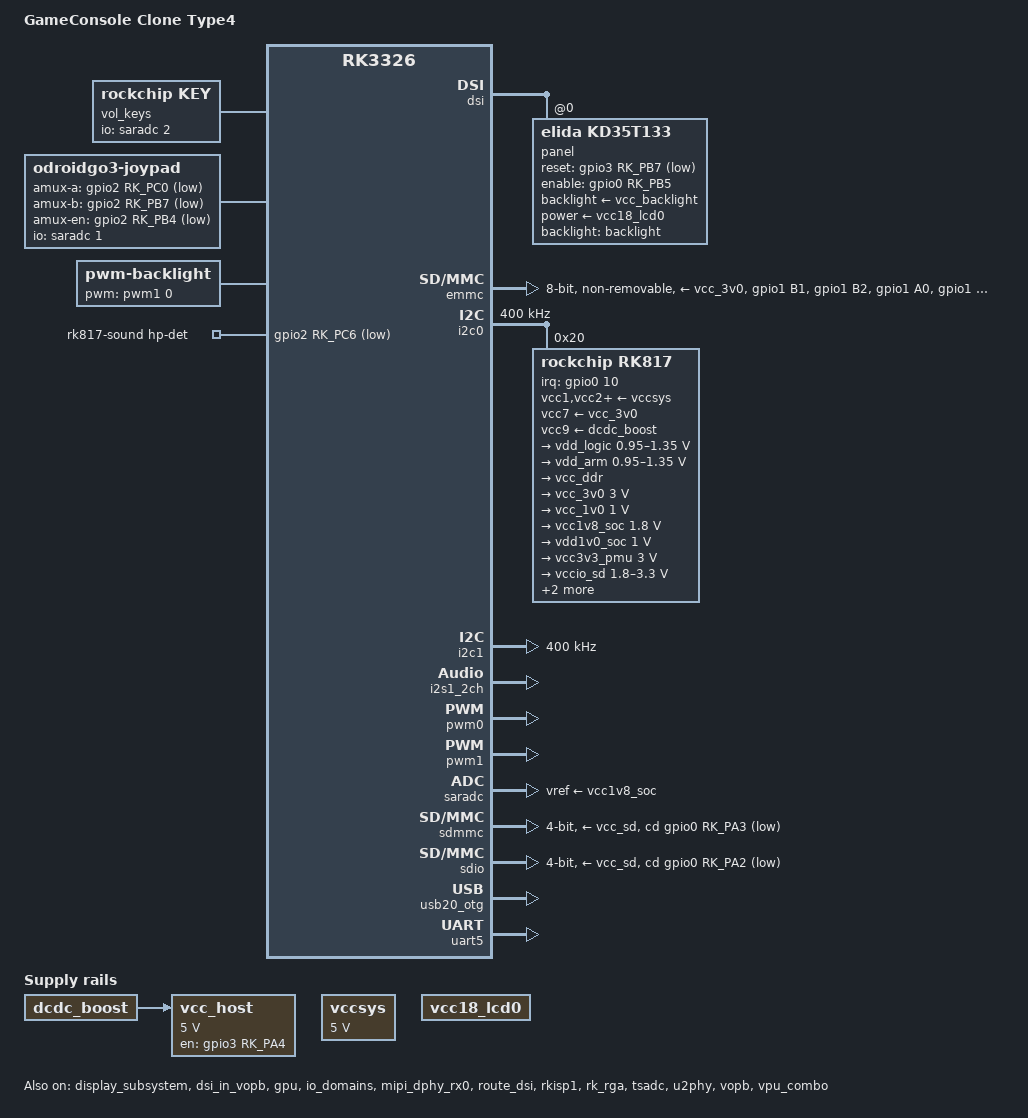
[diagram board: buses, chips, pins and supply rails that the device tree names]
// SPDX-License-Identifier: (GPL-2.0+ OR MIT)
/*
 * Copyright (c) 2025 kk&lcdyk
 *
 * R36S Clone掌机 种类4
 *
 */

/dts-v1/;
#include <dt-bindings/display/drm_mipi_dsi.h>
#include <dt-bindings/gpio/gpio.h>
#include <dt-bindings/input/input.h>
#include <dt-bindings/pinctrl/rockchip.h>
#include <dt-bindings/sensor-dev.h>
#include "rk3326.dtsi"
#include "rk3326-linux.dtsi"

/ {
	model = "GameConsole Clone Type4";
	compatible = "rockchip,rk3326-r36s-type4-linux", "rockchip,rk3326";

	chosen {
                bootargs = "";
	};
	
	aliases {
		serial0 = "/serial@ff178000";
		serial5 = "/serial@ff030000";
		mmc0 = &sdmmc;   /* ff370000：外置 microSD */
		mmc1 = &sdio;   /* ff380000：SDIO Wi-Fi */
		mmc2 = &emmc;   /* ff390000：eMMC */
	};

	vol_keys: rg351-keys {
		compatible = "rockchip,key";
		io-channels = <&saradc 2>;
		autorepeat;
		vol-down-key {
			linux,code = <KEY_VOLUMEDOWN>;
			label = "volume down";
			rockchip,adc_value = <166>;
		};

		vol-up-key {
			linux,code = <KEY_VOLUMEUP>;
			label = "volume up";
			rockchip,adc_value = <9>;
		};
	};

	joypad: odroidgo3-joypad {
		compatible = "odroidgo3-joypad";
		joypad-name = "GO-Super Gamepad";
		joypad-product = <0x1100>;
		joypad-revision = <0x0100>;
		status = "okay";

		/* gpio pincontrol setup */
		pinctrl-names = "default";
		pinctrl-0 = <&btn_pins>;

		/* Analog mux define */
		io-channel-names = "amux_adc";
		io-channels = <&saradc 1>;

		/* adc mux channel count */
		amux-count = <4>;
		amux-channel-mapping = <2 3 1 0>;
		/* adc mux select(a,b) gpio */
		amux-a-gpios = <&gpio2 RK_PC0 GPIO_ACTIVE_LOW>;
		amux-b-gpios = <&gpio2 RK_PB7 GPIO_ACTIVE_LOW>;
		/* adc mux enable gpio */
		amux-en-gpios = <&gpio2 RK_PB4 GPIO_ACTIVE_LOW>;
		/* adc calculate scale */
		button-adc-scale = <2>;
		/* adc deadzone range  */
		button-adc-deadzone = <64>;
		/*
		  specifies fuzz value that is used to filter noise from
		  the event stream.
		*/
		button-adc-fuzz = <32>;
		button-adc-flat = <32>;
		/*
		  Analog Stick data tuning value(precent)
		  p = positive direction, n = negative direction
		  report value = (real_adc_data * tuning_value) / 100
		*/
		abs_x-p-tuning = <200>;
		abs_x-n-tuning = <200>;

		abs_y-p-tuning = <200>;
		abs_y-n-tuning = <200>;

		abs_rx-p-tuning = <200>;
		abs_rx-n-tuning = <200>;

		abs_ry-p-tuning = <200>;
		abs_ry-n-tuning = <200>;

		/* poll device interval (ms), adc read interval */
		poll-interval = <10>;
		invert-absx;
		invert-absy;
		sw1 {
			gpios = <&gpio3 RK_PC6 GPIO_ACTIVE_LOW>;
			label = "GPIO DPAD-UP";
			linux,code = <BTN_DPAD_UP>;
		};
		sw2 {
			gpios = <&gpio3 RK_PC7 GPIO_ACTIVE_LOW>;
			label = "GPIO DPAD-DOWN";
			linux,code = <BTN_DPAD_DOWN>;
		};
		sw3 {
			gpios = <&gpio3 RK_PC4 GPIO_ACTIVE_LOW>;
			label = "GPIO DPAD-LEFT";
			linux,code = <BTN_DPAD_LEFT>;
		};
		sw4 {
			gpios = <&gpio3 RK_PC5 GPIO_ACTIVE_LOW>;
			label = "GPIO DPAD-RIGHT";
			linux,code = <BTN_DPAD_RIGHT>;
		};
		sw5 {
			gpios = <&gpio3 RK_PC0 GPIO_ACTIVE_LOW>;
			label = "GPIO BTN-A";
			linux,code = <BTN_EAST>;
		};
		sw6 {
			gpios = <&gpio3 RK_PC1 GPIO_ACTIVE_LOW> ;
			label = "GPIO BTN-B";
			linux,code = <BTN_SOUTH>;
		};
		sw7 {
			gpios = <&gpio3 RK_PC3 GPIO_ACTIVE_LOW>;
			label = "GPIO BTN-Y";
			linux,code = <BTN_WEST>;
		};
		sw8 {
			gpios = <&gpio3 RK_PC2 GPIO_ACTIVE_LOW>;
			label = "GPIO BTN-X";
			linux,code = <BTN_NORTH>;
		};
		sw11 {
			gpios = <&gpio2 RK_PB6 GPIO_ACTIVE_LOW>;
			label = "BTN_THUMBR";
			linux,code = <BTN_TRIGGER_HAPPY4>;
		};
		sw12 {
			gpios = <&gpio2 RK_PB5 GPIO_ACTIVE_LOW>;
			label = "BTN_THUMBL";
			linux,code = <BTN_TRIGGER_HAPPY3>;
		};
		sw13 {
			gpios = <&gpio3 RK_PB2 GPIO_ACTIVE_LOW>;
			label = "GPIO BTN_F";
			linux,code = <BTN_TRIGGER_HAPPY5>;
		};
		sw15 {
			gpios = <&gpio3 RK_PB5 GPIO_ACTIVE_LOW>;
			label = "GPIO BTN_TL";
			linux,code = <BTN_TL>;
		};
		sw16 {
			gpios = <&gpio3 RK_PB3 GPIO_ACTIVE_LOW>;
			label = "GPIO BTN_TR";
			linux,code = <BTN_TR>;
		};
		sw19 {
			gpios = <&gpio3 RK_PD0 GPIO_ACTIVE_LOW>;
			label = "BTN_SELECT";
			linux,code = <BTN_TRIGGER_HAPPY1>;
		};
		sw20 {
			gpios = <&gpio3 RK_PB4 GPIO_ACTIVE_LOW>;
			label = "GPIO BTN_TR2";
			linux,code = <BTN_TR2>;
		};
		sw21 {
			gpios = <&gpio3 RK_PB6 GPIO_ACTIVE_LOW>;
			label = "GPIO BTN_TL2";
			linux,code = <BTN_TL2>;
		};
		sw22 {
			gpios = <&gpio3 RK_PD1 GPIO_ACTIVE_LOW>;
			label = "BTN_START";
			linux,code = <BTN_TRIGGER_HAPPY2>;
		};
	};

	fiq-debugger {
		compatible = "rockchip,fiq-debugger";
		rockchip,serial-id = <5>;
		rockchip,wake-irq = <0>;
		/* If enable uart uses irq instead of fiq */
		rockchip,irq-mode-enable = <0>;
		rockchip,baudrate = <1500000>;  /* Only 115200 and 1500000 */
		interrupts = <GIC_SPI 127 IRQ_TYPE_LEVEL_LOW>;
		pinctrl-names = "default";
		pinctrl-0 = <&uart5_xfer>;
		status = "disabled";
	};

	backlight: backlight {
		compatible = "pwm-backlight";
		pwms = <&pwm1 0 25000 0>;
		brightness-levels = <
			  0   1   2   3   4   5   6   7
			  8   9  10  11  12  13  14  15
			 16  17  18  19  20  21  22  23
			 24  25  26  27  28  29  30  31
			 32  33  34  35  36  37  38  39
			 40  41  42  43  44  45  46  47
			 48  49  50  51  52  53  54  55
			 56  57  58  59  60  61  62  63
			 64  65  66  67  68  69  70  71
			 72  73  74  75  76  77  78  79
			 80  81  82  83  84  85  86  87
			 88  89  90  91  92  93  94  95
			 96  97  98  99 100 101 102 103
			104 105 106 107 108 109 110 111
			112 113 114 115 116 117 118 119
			120 121 122 123 124 125 126 127
			128 129 130 131 132 133 134 135
			136 137 138 139 140 141 142 143
			144 145 146 147 148 149 150 151
			152 153 154 155 156 157 158 159
			160 161 162 163 164 165 166 167
			168 169 170 171 172 173 174 175
			176 177 178 179 180 181 182 183
			184 185 186 187 188 189 190 191
			192 193 194 195 196 197 198 199
			200 201 202 203 204 205 206 207
			208 209 210 211 212 213 214 215
			216 217 218 219 220 221 222 223
			224 225 226 227 228 229 230 231
			232 233 234 235 236 237 238 239
			240 241 242 243 244 245 246 247
			248 249 250 251 252 253 254 255>;
		default-brightness-level = <200>;
	};
 	// leds: gpio_leds {
    //     compatible = "gpio-leds";
    //     pinctrl-names = "led_pins";
    //     pinctrl-0 = <&led_pins>;

    //     /* 充电蓝灯：GPIO0_A0 (GPIO0_0) */
    //     blue_charge: blue-charge {
    //         label = "blue:charge";
    //         gpios = <&gpio0 RK_PA0 GPIO_ACTIVE_HIGH>;
    //         default-state = "off";
    //     };

    //     /* 充电红灯：GPIO0_C1 (GPIO0_17) */
    //     red_charge: red-charge {
    //         label = "red:charge";
    //         gpios = <&gpio0 RK_PC1 GPIO_ACTIVE_HIGH>;
    //         default-state = "off";
    //     };

    //     /* 工作蓝灯：GPIO0_B3 (GPIO0_11) */
    //     blue_work: blue-work {
    //         label = "blue:work";
    //         gpios = <&gpio0 RK_PB3 GPIO_ACTIVE_HIGH>;
    //         default-state = "off";
    //     };

    //     /* 工作红灯：GPIO0_B4 (GPIO0_12) */
    //     red_work: red-work {
    //         label = "red:work";
    //         gpios = <&gpio0 RK_PB4 GPIO_ACTIVE_HIGH>;
    //         default-state = "off";
    //     };
    // };
	rk817-sound {
		compatible = "simple-audio-card";
		simple-audio-card,format = "i2s";
		simple-audio-card,name = "rockchip,rk817-codec";
		simple-audio-card,mclk-fs = <256>;
		simple-audio-card,widgets =
			"Microphone", "Mic Jack",
			"Headphone", "Headphone Jack";
		simple-audio-card,routing =
			"MIC_IN", "Mic Jack",
			/*"IN1P", "Mic Jack",*/
			"Headphone Jack", "HPOL",
			"Headphone Jack", "HPOR";
		simple-audio-card,hp-det-gpio = <&gpio2 RK_PC6 GPIO_ACTIVE_LOW>;
		pinctrl-names = "default";
		pinctrl-0 = <&hp_det>;
		simple-audio-card,cpu {
			sound-dai = <&i2s1_2ch>;
		};
		simple-audio-card,codec {
			sound-dai = <&rk817_codec>;
		};
	};

	vccsys: vccsys {
		compatible = "regulator-fixed";
		regulator-name = "vcc5v0_sys";
		regulator-always-on;
		regulator-boot-on;
		regulator-min-microvolt = <5000000>;
		regulator-max-microvolt = <5000000>;
	};
	vcc18_lcd0: vcc18_lcd0 {
		compatible = "regulator-fixed";
		regulator-name = "vcc18_lcd0_n";
		enable-active-high;
		regulator-boot-on;
		regulator-state-mem {
			regulator-off-in-suspend;
		};
	};

    vcc_host: vcc_host {
        compatible = "regulator-fixed";
        regulator-name = "vcc_host";
        regulator-min-microvolt = <5000000>;
        regulator-max-microvolt = <5000000>;
        gpio = <&gpio3 RK_PA4 GPIO_ACTIVE_HIGH>;
		pinctrl-0 = <&vcc5_usb>;
		pinctrl-names = "default";
        enable-active-high;
        regulator-always-on;
        regulator-boot-on;
        vin-supply = <&dcdc_boost>;
    };
};

&bus_apll {
	bus-supply = <&vdd_logic>;
	status = "okay";
};

&cpu0 {
	cpu-supply = <&vdd_arm>;
};

&cpu0_opp_table {
	rockchip,avs = <1>;

	/* bin scaling clock 1.296MHz */
	rockchip,bin-scaling-sel = <
		0	10
		1	13
		2	16
		3	20
	>;

	/delete-node/ opp-408000000;
	/delete-node/ opp-600000000;
	/delete-node/ opp-696000000;
	/delete-node/ opp-1416000000;
	/delete-node/ opp-1512000000;

	opp-816000000 {
		opp-hz = /bits/ 64 <816000000>;
		opp-microvolt = <1050000 1050000 1350000>;
		opp-microvolt-L0 = <1050000 1050000 1350000>;
		opp-microvolt-L1 = <1000000 1000000 1350000>;
		opp-microvolt-L2 = <1000000 1000000 1350000>;
		opp-microvolt-L3 = <950000  950000  1350000>;
		clock-latency-ns = <40000>;
		opp-suspend;
	};

	opp-912000000 {
		opp-hz = /bits/ 64 <912000000>;
		opp-microvolt = <1125000 1125000 1350000>;
		opp-microvolt-L0 = <1125000 1125000 1350000>;
		opp-microvolt-L1 = <1075000 1075000 1350000>;
		opp-microvolt-L2 = <1075000 1075000 1350000>;
		opp-microvolt-L3 = <1000000 1000000 1350000>;
		clock-latency-ns = <40000>;
	};

	opp-1008000000 {
		opp-hz = /bits/ 64 <1008000000>;
		opp-microvolt = <1175000 1175000 1350000>;
		opp-microvolt-L0 = <1175000 1175000 1350000>;
		opp-microvolt-L1 = <1125000 1125000 1350000>;
		opp-microvolt-L2 = <1125000 1125000 1350000>;
		opp-microvolt-L3 = <1050000 1050000 1350000>;
		clock-latency-ns = <40000>;
	};

	opp-1200000000 {
		opp-hz = /bits/ 64 <1200000000>;
		opp-microvolt = <1300000 1300000 1350000>;
		opp-microvolt-L0 = <1300000 1300000 1350000>;
		opp-microvolt-L1 = <1275000 1275000 1350000>;
		opp-microvolt-L2 = <1250000 1250000 1350000>;
		opp-microvolt-L3 = <1200000 1200000 1350000>;
		clock-latency-ns = <40000>;
	};

	opp-1248000000 {
		opp-hz = /bits/ 64 <1248000000>;
		opp-microvolt = <1350000 1350000 1350000>;
		opp-microvolt-L0 = <1350000 1350000 1350000>;
		opp-microvolt-L1 = <1300000 1300000 1350000>;
		opp-microvolt-L2 = <1275000 1275000 1350000>;
		opp-microvolt-L3 = <1225000 1225000 1350000>;
		clock-latency-ns = <40000>;
	};

	opp-1296000000 {
		opp-hz = /bits/ 64 <1296000000>;
		opp-microvolt = <1350000 1350000 1350000>;
		opp-microvolt-L0 = <1350000 1350000 1350000>;
		opp-microvolt-L1 = <1350000 1350000 1350000>;
		opp-microvolt-L2 = <1300000 1300000 1350000>;
		opp-microvolt-L3 = <1250000 1250000 1350000>;
		clock-latency-ns = <40000>;
	};

	opp-1416000000 {
		opp-hz = /bits/ 64 <1416000000>;
		opp-microvolt     = <1350000 1350000 1350000>;
		opp-microvolt-L0  = <1350000 1350000 1350000>;
		opp-microvolt-L1  = <1350000 1350000 1350000>;
		opp-microvolt-L2  = <1325000 1325000 1350000>;
		opp-microvolt-L3  = <1300000 1300000 1350000>;
		opp-microvolt-L4  = <1250000 1250000 1350000>;
		clock-latency-ns = <40000>;
	};

	opp-1512000000 {
		opp-hz = /bits/ 64 <1512000000>;
		opp-microvolt     = <1350000 1350000 1350000>;
		opp-microvolt-L0  = <1350000 1350000 1350000>;
		opp-microvolt-L1  = <1350000 1350000 1350000>;
		opp-microvolt-L2  = <1350000 1350000 1350000>;
		opp-microvolt-L3  = <1325000 1325000 1350000>;
		opp-microvolt-L4  = <1300000 1300000 1350000>;
		clock-latency-ns = <40000>;
	};
};

&display_subsystem {
	status = "okay";
};

&dsi {
	status = "okay";

	panel@0 {
		compatible = "elida,kd35t133", "simple-panel-dsi";
		reg = <0>;
		/* pwm1 backlight */
		backlight = <&backlight>;
		/* RK817 LDO7 */
		backlight-supply = <&vcc_backlight>;
		/* RK817 LDO8 */

		power-supply = <&vcc18_lcd0>;
		/* LCD reset gpio GPIO3.B7 */
		reset-gpios = <&gpio3 RK_PB7 GPIO_ACTIVE_LOW>;
		/* power-supply-gpio GPIO0.B5  */
		enable-gpios = <&gpio0 RK_PB5 GPIO_ACTIVE_HIGH>;
		prepare-delay-ms = <20>;
		reset-delay-ms = <20>;
		init-delay-ms = <20>;
		enable-delay-ms = <120>;
		disable-delay-ms = <20>;
		unprepare-delay-ms = <20>;
		width-mm = <153>;
		height-mm = <85>;
		dsi,flags  = <(MIPI_DSI_MODE_VIDEO |
					MIPI_DSI_MODE_VIDEO_BURST |
					MIPI_DSI_MODE_LPM |
					MIPI_DSI_MODE_EOT_PACKET)>;
		dsi,format = <MIPI_DSI_FMT_RGB888>;
		dsi,lanes = <4>;
		panel-init-sequence = [
			/* 基本页/寄存器 */
			39 00 04 B9 F1 12 87
			39 00 04 B2 78 04 70
			39 00 0B B3 10 10 FC FC 03 FF 00 00 00 00
			15 00 02 B4 80
			15 00 03 B5 06 06
			15 00 03 B6 A9 A9
			39 00 05 B8 26 22 F0 13

			/* 时序/电源相关 */
			39 00 1C BA 33 81 05 F9 0E 0E 20 00 00 00 00 00 00 00 44 25 00 91 0A 00 00 01 4F 01 00 00 37
			39 00 02 BC 47
			39 00 06 BF 02 10 00 80 04
			39 00 0A C0 73 73 50 50 00 00 12 73 00
			39 00 12 C1 25 C0 32 32 99 E4 77 77 CC CC FF FF 11 11 00 00 32
			39 00 0D C7 10 00 0A 00 00 00 00 00 ED C5 00 A5
			39 00 05 C8 10 40 1E 03
			39 00 02 CC 0B

			/* Gamma/色度 */
			39 00 23 E0 00 0A 0F 29 3C 3F 41 38 08 0C 0F 12 14 12 13 12 19
						00 0A 0F 29 3C 3F 41 38 08 0C 0F 12 14 12 13 12 19
			39 00 08 E1 11 11 91 00 00 00 00
			39 00 0F E3 07 07 0B 0B 0B 0B 00 00 00 00 FF 04 C0 10

			/* 接口/时钟特性块 */
			39 00 40 E9 C8 10 0A 00 00 F0 81 12 31 23 4F 86 F0 81 47 08 00 00 10 00 00 00 00 00 10 00 00 00
						88 88 08 F8 F4 46 60 02 28 88 88 88 88 18 F8 F5 57 71 13 38 88 88 00 00 00 01
						00 00 00 00 00 00 00 00 00
			39 00 3E EA 00 1A 00 00 00 00 00 00 00 00 00 00
						88 F8 18 F8 83 31 17 75 58 88 88 88 F8 08 F8 82 20 06 64 48 88 88 23 00 00 02
						FE 00 00 00 00 00 00 00 00 00 00 00 00 00 00 00 00 00 00 00 00 00 00

			/* 结束/开屏 */
			39 00 04 EF FF FF 01
			05 FA 01 11  /* Sleep Out,  delay 250ms */
			05 32 01 29  /* Display On, delay 50ms  */
		];

		panel-exit-sequence = [
			05 00 01 28  /* Display Off */
			05 00 01 10  /* Sleep In    */
		];


		display-timings {
			native-mode = <&timing0>;

			timing0: 59_98Hz {
				clock-frequency = <32000000>;
				hactive = <640>;
				vactive = <480>;
				hfront-porch = <150>;
				hsync-len = <120>;
				hback-porch = <120>;
				vfront-porch = <20>;
				vsync-len = <6>;
				vback-porch = <12>;
				hsync-active = <0>;
				vsync-active = <0>;
				de-active = <0>;
				pixelclk-active = <0>;
			};
		};
	};
};

&dsi_in_vopb {
	status = "okay";
};

&dfi {
	status = "disabled";
};

&dmc {
	status = "disabled";
};


&dmc_opp_table {
	/delete-node/ opp-194000000;
	/delete-node/ opp-328000000;
	/delete-node/ opp-786000000;

	opp-450000000 {
		opp-hz = /bits/ 64 <450000000>;
		opp-microvolt = <950000>;
	};

	opp-528000000 {
		opp-hz = /bits/ 64 <528000000>;
		opp-microvolt = <975000>;
	};

	opp-666000000 {
		opp-hz = /bits/ 64 <666000000>;
		opp-microvolt = <1050000>;
	};

	opp-786000000 {
		opp-hz = /bits/ 64 <786000000>;
		opp-microvolt = <1150000>;
	};

	opp-840000000 {
		opp-hz = /bits/ 64 <840000000>;
		opp-microvolt = <1150000>;
	};
};

&emmc {
    compatible = "rockchip,px30-dw-mshc", "rockchip,rk3288-dw-mshc";
    status = "okay";
    bus-width = <8>;
    non-removable;
    disable-wp;
    no-sd;
    no-sdio;
    supports-emmc;
    cap-mmc-highspeed;
    clock-names = "biu", "ciu";
    clocks = <&cru HCLK_EMMC>, <&cru SCLK_EMMC>;
    vmmc-supply  = <&vcc_3v0>;
    vqmmc-supply = <&vcc1v8_soc>;
    pinctrl-names = "default";
    pinctrl-0 = <
        &emmc_clk
        &emmc_cmd
        &emmc_bus8
        &emmc_pwren
        &emmc_rstnout
    >;
    fifo-depth = <256>;
    max-frequency = <150000000>;
    num-slots = <1>;
};

&gpu {
	mali-supply = <&vdd_logic>;
	status = "okay";
};

&gpu_opp_table {
	/delete-node/ opp-200000000;
	/delete-node/ opp-300000000;
	/delete-node/ opp-520000000;

	opp-400000000 {
		opp-hz = /bits/ 64 <400000000>;
		opp-microvolt = <1050000>;
		opp-microvolt-L0 = <1050000>;
		opp-microvolt-L1 = <1025000>;
		opp-microvolt-L2 = <975000>;
		opp-microvolt-L3 = <950000>;
	};
	opp-480000000 {
		opp-hz = /bits/ 64 <480000000>;
		opp-microvolt = <1125000>;
		opp-microvolt-L0 = <1125000>;
		opp-microvolt-L1 = <1100000>;
		opp-microvolt-L2 = <1050000>;
		opp-microvolt-L3 = <1000000>;
	};

	opp-520000000 {
		opp-hz = /bits/ 64 <520000000>;
		opp-microvolt = <1150000>;
		opp-microvolt-L0 = <1150000>;
		opp-microvolt-L1 = <1150000>;
		opp-microvolt-L2 = <1100000>;
		opp-microvolt-L3 = <1050000>;
		status = "disabled";
	};

	opp-540000000 {
		opp-hz = /bits/ 64 <540000000>;
		opp-microvolt = <1150000>;
		opp-microvolt-L0 = <1150000>;
		opp-microvolt-L1 = <1150000>;
		opp-microvolt-L2 = <1100000>;
		opp-microvolt-L3 = <1050000>;
		status = "disabled";
	};

	opp-560000000 {
		opp-hz = /bits/ 64 <560000000>;
		opp-microvolt = <1150000>;
		opp-microvolt-L0 = <1150000>;
		opp-microvolt-L1 = <1150000>;
		opp-microvolt-L2 = <1100000>;
		opp-microvolt-L3 = <1050000>;
		status = "disabled";
	};
};

&i2c0 {
	status = "okay";
	clock-frequency = <400000>;
	i2c-scl-rising-time-ns = <280>;
	i2c-scl-falling-time-ns = <16>;

	rk817: pmic@20 {
		compatible = "rockchip,rk817";
		reg = <0x20>;
		interrupt-parent = <&gpio0>;
		interrupts = <10 IRQ_TYPE_LEVEL_LOW>;
		pinctrl-names = "default", "pmic-sleep",
				"pmic-power-off", "pmic-reset";
		pinctrl-0 = <&pmic_int>;
		pinctrl-1 = <&soc_slppin_slp>, <&rk817_slppin_slp>;
		pinctrl-2 = <&soc_slppin_gpio>, <&rk817_slppin_pwrdn>;
		pinctrl-3 = <&soc_slppin_rst>, <&rk817_slppin_rst>;
		rockchip,system-power-controller;
		wakeup-source;
		#clock-cells = <1>;
		clock-output-names = "rk808-clkout1", "rk808-clkout2";
		//fb-inner-reg-idxs = <2>;

		/* 1: rst regs (default in codes), 0: rst the pmic */
		pmic-reset-func = <1>;

		vcc1-supply = <&vccsys>;
		vcc2-supply = <&vccsys>;
		vcc3-supply = <&vccsys>;
		vcc4-supply = <&vccsys>;
		vcc5-supply = <&vccsys>;
		vcc6-supply = <&vccsys>;
		vcc7-supply = <&vcc_3v0>;
		vcc8-supply = <&vccsys>;
		vcc9-supply = <&dcdc_boost>;

		pwrkey {
			status = "okay";
		};

		pinctrl_rk8xx: pinctrl_rk8xx {
			gpio-controller;
			#gpio-cells = <2>;

			rk817_ts_gpio1: rk817_ts_gpio1 {
				pins = "gpio_ts";
				function = "pin_fun1";
				/* output-low; */
				/* input-enable; */
			};

			rk817_gt_gpio2: rk817_gt_gpio2 {
				pins = "gpio_gt";
				function = "pin_fun1";
			};

			rk817_pin_ts: rk817_pin_ts {
				pins = "gpio_ts";
				function = "pin_fun0";
			};

			rk817_pin_gt: rk817_pin_gt {
				pins = "gpio_gt";
				function = "pin_fun0";
			};

			rk817_slppin_null: rk817_slppin_null {
				pins = "gpio_slp";
				function = "pin_fun0";
			};

			rk817_slppin_slp: rk817_slppin_slp {
				pins = "gpio_slp";
				function = "pin_fun1";
			};

			rk817_slppin_pwrdn: rk817_slppin_pwrdn {
				pins = "gpio_slp";
				function = "pin_fun2";
			};

			rk817_slppin_rst: rk817_slppin_rst {
				pins = "gpio_slp";
				function = "pin_fun3";
			};
		};

		regulators {
			vdd_logic: DCDC_REG1 {
				regulator-always-on;
				regulator-boot-on;
				regulator-min-microvolt = <950000>;
				regulator-max-microvolt = <1350000>;
				regulator-init-microvolt = <1150000>;
				regulator-ramp-delay = <6001>;
				regulator-initial-mode = <0x2>;
				regulator-name = "vdd_logic";
				regulator-state-mem {
					regulator-on-in-suspend;
					regulator-suspend-microvolt = <950000>;
				};
			};

			vdd_arm: DCDC_REG2 {
				regulator-always-on;
				regulator-boot-on;
				regulator-min-microvolt = <950000>;
				regulator-max-microvolt = <1350000>;
				regulator-init-microvolt = <1250000>;
				regulator-ramp-delay = <6001>;
				regulator-initial-mode = <0x2>;
				regulator-name = "vdd_arm";
				regulator-state-mem {
					regulator-off-in-suspend;
					regulator-suspend-microvolt = <950000>;
				};
			};

			vcc_ddr: DCDC_REG3 {
				regulator-always-on;
				regulator-boot-on;
				regulator-initial-mode = <0x2>;
				regulator-name = "vcc_ddr";
				regulator-state-mem {
					regulator-on-in-suspend;
				};
			};

			vcc_3v0: DCDC_REG4 {
				regulator-always-on;
				regulator-boot-on;
				regulator-min-microvolt = <3000000>;
				regulator-max-microvolt = <3000000>;
				regulator-initial-mode = <0x2>;
				regulator-name = "vcc_3v0";
				regulator-state-mem {
					regulator-off-in-suspend;
					regulator-suspend-microvolt = <3000000>;
				};
			};

			/* Not Used */
			vcc_1v0: LDO_REG1 {
				regulator-always-on;
				regulator-boot-on;
				regulator-min-microvolt = <1000000>;
				regulator-max-microvolt = <1000000>;
				regulator-name = "vcc_1v0";
				regulator-state-mem {
					regulator-on-in-suspend;
					regulator-suspend-microvolt = <1000000>;
				};
			};

			vcc1v8_soc: LDO_REG2 {
				regulator-always-on;
				regulator-boot-on;
				regulator-min-microvolt = <1800000>;
				regulator-max-microvolt = <1800000>;

				regulator-name = "vcc1v8_soc";
				regulator-state-mem {
					regulator-on-in-suspend;
					regulator-suspend-microvolt = <1800000>;
				};
			};

			vdd1v0_soc: LDO_REG3 {
				regulator-always-on;
				regulator-boot-on;
				regulator-min-microvolt = <1000000>;
				regulator-max-microvolt = <1000000>;

				regulator-name = "vcc1v0_soc";
				regulator-state-mem {
					regulator-on-in-suspend;
					regulator-suspend-microvolt = <1000000>;
				};
			};

			vcc3v3_pmu: LDO_REG4 {
				regulator-always-on;
				regulator-boot-on;
				regulator-min-microvolt = <3000000>;
				regulator-max-microvolt = <3000000>;

				regulator-name = "vcc3v0_pmu";
				regulator-state-mem {
					regulator-on-in-suspend;
					regulator-suspend-microvolt = <3000000>;

				};
			};

			vccio_sd: LDO_REG5 {
				regulator-always-on;
				regulator-boot-on;
				regulator-min-microvolt = <1800000>;
				regulator-max-microvolt = <3300000>;

				regulator-name = "vccio_sd";
				regulator-state-mem {
					regulator-on-in-suspend;
					regulator-suspend-microvolt = <3300000>;
				};
			};

			vcc_sd: LDO_REG6 {
				regulator-min-microvolt = <3300000>;
				regulator-max-microvolt = <3300000>;

				regulator-name = "vcc_sd";
				regulator-state-mem {
					regulator-on-in-suspend;
					regulator-suspend-microvolt = <3300000>;

				};
			};

			/* Rev 0.2 LCD Backlight Power */
			vcc_backlight: LDO_REG7 {
				regulator-always-on;
				regulator-boot-on;
				regulator-min-microvolt = <1800000>;
				regulator-max-microvolt = <3300000>;

				regulator-name = "vcc2v8_dvp";
				regulator-state-mem {
					regulator-on-in-suspend;
					regulator-suspend-microvolt = <3300000>;
				};
			};

			/* Rev 0.2 LCD IO Power */
			vcc_lcd: LDO_REG8 {
				regulator-always-on;
				regulator-boot-on;
				regulator-min-microvolt = <3300000>;
				regulator-max-microvolt = <3300000>;

				regulator-name = "vcc1v8_dvp";
				regulator-state-mem {
					regulator-on-in-suspend;
					regulator-suspend-microvolt = <3300000>;
				};
			};

			/* Rev 1.1 WIFI Power */
			vcc_wifi: LDO_REG9 {
				regulator-always-on;
				regulator-boot-on;
				regulator-min-microvolt = <3300000>;
				regulator-max-microvolt = <3300000>;

				regulator-name = "vcc_wifi";
				regulator-state-mem {
					regulator-off-in-suspend;
					regulator-suspend-microvolt = <3300000>;
				};
			};

			dcdc_boost: BOOST {
				regulator-always-on;
				regulator-boot-on;
				regulator-min-microvolt = <4700000>;
				regulator-max-microvolt = <5400000>;
				regulator-name = "boost";
			};

			otg_switch: OTG_SWITCH {
				regulator-boot-on;
				regulator-name = "otg_switch";
			};
		};

		battery {
			compatible = "rk817,battery-5.10";
			ocv_table = <
				3300 3340 3380 3420 3460 3500 3540 
				3570 3610 3650 3690 3720 3750 3790 
				3830 3870 3910 3940 3967 4001 4046
			>;
			design_capacity = <1848>;
			design_qmax = <2033>;
			bat_res = <142>;
			sleep_enter_current = <300>;
			sleep_exit_current = <300>;
			sleep_filter_current = <100>;
			power_off_thresd = <3500>;
			zero_algorithm_vol = <3850>;
			max_soc_offset = <60>;
			monitor_sec = <5>;
			sample_res = <10>;
			virtual_power = <0>;
			power_dc2otg = <0>;
		};

		charger {
			compatible = "rk817,charger";
			min_input_voltage = <4500>;
			max_input_current = <800>;
			max_chrg_current = <800>;
			max_chrg_voltage = <4200>;
			chrg_term_mode = <0>;
			chrg_finish_cur = <300>;
			virtual_power = <0>;
			sample_res = <10>;
			dc_det_gpio  = <&gpio3 RK_PA5 GPIO_ACTIVE_HIGH>;
			bat_low_gpio = <&gpio0 RK_PC1 GPIO_ACTIVE_HIGH>;

			extcon = <&u2phy>;
		};

		rk817_codec: codec {
			#sound-dai-cells = <0>;
			compatible = "rockchip,rk817-codec";
			clocks = <&cru SCLK_I2S1_OUT>;
			clock-names = "mclk";
			pinctrl-names = "default";
			pinctrl-0 = <&i2s1_2ch_mclk>;
			spk-ctl-gpios = <&gpio3 RK_PA7 GPIO_ACTIVE_HIGH>;
			spk-mute-delay-ms = <50>;
			hp-volume = <20>;
			spk-volume = <20>;
			status = "okay";
		};
	};
};

/* EXT Header(P2) : 7(SCL:GPIO0.C2), 8(SDA:GPIO0.C3) */
&i2c1 {
	status = "okay";
	clock-frequency = <400000>;
};

/* MIPI CSI I2C */
&i2c2 {
	status = "disabled";
};

/* I2S 1 Channel Used */
&i2s1_2ch {
	status = "okay";
	#sound-dai-cells = <0>;
};

&io_domains {
	/* GRF Register Voltage select control */
	status = "okay";

	/* SDIO I/O Voltage */
	vccio1-supply = <&vcc_backlight>;
	/* SDMMC I/O Voltage */
	vccio2-supply = <&vccio_sd>;
	/* CAM I/O Voltage */
	vccio3-supply = <&vcc1v8_soc>;
	/* LVDS/LCDC I/O Voltage */
	vccio4-supply = <&vcc_3v0>;
	/* I2S I/O Voltage */
	vccio5-supply = <&vcc_3v0>;
	/* eMMC I/O Voltage */
	vccio6-supply = <&vcc1v8_soc>;
};

&isp_mmu {
	status = "okay";
};

&mipi_dphy_rx0 {
	status = "okay";
};

&pmu_io_domains {
	/* PMU GRF Register Voltage select control */
	status = "okay";

	/* PMU I/O Voltage */
	pmuio1-supply = <&vcc3v3_pmu>;
	/* GPIO0_B/GPIO0_C, Flash */
	pmuio2-supply = <&vcc3v3_pmu>;
};

/* RG351MP Motor PWM */
&pwm0 {
	status = "okay";
};

/* LCD Backlight PWM */
&pwm1 {
	status = "okay";
};

&route_dsi {
	connect = <&vopb_out_dsi>;
	status = "okay";
};

&rkisp1 {
	status = "okay";
};

&rk_rga {
	status = "okay";
};

&rockchip_suspend {
	status = "okay";
	rockchip,sleep-debug-en = <1>;
};

&sfc {
	status = "disabled";
};

&spi0 {
	status = "disabled";
};

&saradc {
	status = "okay";
	vref-supply = <&vcc1v8_soc>;
};

&sdmmc {
	bus-width = <4>;
	cap-mmc-highspeed;
	cap-sd-highspeed;
	supports-sd;
	card-detect-delay = <800>;
	ignore-pm-notify;
	cd-gpios = <&gpio0 RK_PA3 GPIO_ACTIVE_LOW>;
	sd-uhs-sdr12;
	sd-uhs-sdr25;
	sd-uhs-sdr50;
	sd-uhs-sdr104;
	vqmmc-supply = <&vccio_sd>;
	vmmc-supply = <&vcc_sd>;
	status = "okay";
};

&sdio {
	bus-width = <4>;
	cap-mmc-highspeed;
	cap-sd-highspeed;
	supports-sd;
	card-detect-delay = <800>;
	ignore-pm-notify;
	cd-gpios = <&gpio0 RK_PA2 GPIO_ACTIVE_LOW>;
	sd-uhs-sdr12;
	sd-uhs-sdr25;
	sd-uhs-sdr50;
	sd-uhs-sdr104;
	vqmmc-supply = <&vccio_sd>;
	vmmc-supply = <&vcc_sd>;
	status = "okay";
};

&tsadc {
	pinctrl-names = "gpio", "otpout";
	pinctrl-0 = <&tsadc_otp_gpio>;
	pinctrl-1 = <&tsadc_otp_out>;
	status = "okay";
};

&u2phy {
	status = "okay";

	u2phy_host: host-port {
		status = "okay";
	};

	u2phy_otg: otg-port {
		status = "disabled";
	};
};

&usb20_otg {
	status = "okay";
};

&uart1 {
	pinctrl-names = "default";
	pinctrl-0 = <&uart1_xfer &uart1_cts>;
	status = "disabled";
};

&uart0 {
	status = "disabled";
};

&uart2 {
	status = "disabled";
};

&uart3 {
	status = "disabled";
};

&uart4 {
	status = "disabled";
};

&uart5 {
	clock-frequency = <115200>;
	status = "okay";
};

&vip_mmu {
	status = "okay";
};

&vopb {
	status = "okay";
};

&vopb_mmu {
	status = "okay";
};

&vpu_combo {
	status = "okay";
};

&pinctrl {
	
	pcfg_pull_up_8_6ma: pcfg-pull-up-8-6ma  {
		bias-pull-up;
		drive-strength = <8>;
		drive-strength-s = <6>;
	};

	pcfg_pull_none_8_6ma: pcfg-pull-none-8-6ma {
		bias-disable;
		drive-strength = <8>;
		drive-strength-s = <6>;
	};

	emmc {
        emmc_clk: emmc-clk {
            rockchip,pins = <1 RK_PB1 RK_FUNC_2 &pcfg_pull_none_8_6ma>;
        };
        emmc_cmd: emmc-cmd {
            rockchip,pins = <1 RK_PB2 RK_FUNC_2 &pcfg_pull_up_8_6ma>;
        };
        emmc_bus8: emmc-bus8 {
            rockchip,pins = 
			<1 RK_PA0 RK_FUNC_2 &pcfg_pull_up_8_6ma>,
			<1 RK_PA1 RK_FUNC_2 &pcfg_pull_up_8_6ma>,
			<1 RK_PA2 RK_FUNC_2 &pcfg_pull_up_8_6ma>,
			<1 RK_PA3 RK_FUNC_2 &pcfg_pull_up_8_6ma>,
			<1 RK_PA4 RK_FUNC_2 &pcfg_pull_up_8_6ma>,
			<1 RK_PA5 RK_FUNC_2 &pcfg_pull_up_8_6ma>,
			<1 RK_PA6 RK_FUNC_2 &pcfg_pull_up_8_6ma>,
			<1 RK_PA7 RK_FUNC_2 &pcfg_pull_up_8_6ma>;
        };
        emmc_pwren: emmc-pwren {
            rockchip,pins = <1 RK_PB0 RK_FUNC_2 &pcfg_pull_none>;
        };
        emmc_rstnout: emmc-rstnout {
            rockchip,pins = <1 RK_PB3 RK_FUNC_2 &pcfg_pull_none>;
        };
    };

	pmic {
		pmic_int: pmic_int {
			rockchip,pins =
				<0 RK_PB2 RK_FUNC_GPIO &pcfg_pull_up>;
		};

		soc_slppin_gpio: soc_slppin_gpio {
			rockchip,pins =
				<0 RK_PA4 RK_FUNC_GPIO &pcfg_output_low>;
		};

		soc_slppin_slp: soc_slppin_slp {
			rockchip,pins =
				<0 RK_PA4 RK_FUNC_1 &pcfg_pull_none>;
		};

		soc_slppin_rst: soc_slppin_rst {
			rockchip,pins =
				<0 RK_PA4 RK_FUNC_2 &pcfg_pull_none>;
		};
	};
    vcc18-lcd {
        vcc18_lcd_n: vcc18-lcd-n {
            rockchip,pins = <0 RK_PB5 RK_FUNC_GPIO &pcfg_pull_none>;
        };
    };

    vcc5-usb {
        vcc5_usb: vcc5-usb {
            rockchip,pins = <3 RK_PA4 RK_FUNC_GPIO &pcfg_pull_none>;
        };
    };

	// leds {
	// 	led_pins: led-pins {
	// 		rockchip,pins =
	// 			<0 RK_PA0 RK_FUNC_GPIO &pcfg_pull_none>, /* charge blue  */
	// 			<0 RK_PC1 RK_FUNC_GPIO &pcfg_pull_none>, /* charge red   */
	// 			<0 RK_PB3 RK_FUNC_GPIO &pcfg_pull_none>, /* work blue    */
	// 			<0 RK_PB4 RK_FUNC_GPIO &pcfg_pull_none>; /* work red     */
	// 	};
	// };
	btns {
		btn_pins: btn-pins {
		rockchip,pins =
			<3 RK_PB3 RK_FUNC_GPIO &pcfg_pull_up>, 
			<3 RK_PB4 RK_FUNC_GPIO &pcfg_pull_up>, 
			<3 RK_PB5 RK_FUNC_GPIO &pcfg_pull_up>, 
			<3 RK_PB6 RK_FUNC_GPIO &pcfg_pull_up>, 
			<3 RK_PC0 RK_FUNC_GPIO &pcfg_pull_up>, 
			<3 RK_PC1 RK_FUNC_GPIO &pcfg_pull_up>, 
			<3 RK_PC2 RK_FUNC_GPIO &pcfg_pull_up>,
			<3 RK_PC3 RK_FUNC_GPIO &pcfg_pull_up>, 
			<3 RK_PC4 RK_FUNC_GPIO &pcfg_pull_up>, 
			<3 RK_PC5 RK_FUNC_GPIO &pcfg_pull_up>, 
			<3 RK_PC6 RK_FUNC_GPIO &pcfg_pull_up>, 
			<3 RK_PC7 RK_FUNC_GPIO &pcfg_pull_up>, 
			<3 RK_PD0 RK_FUNC_GPIO &pcfg_pull_up>, 
			<3 RK_PD1 RK_FUNC_GPIO &pcfg_pull_up>, 
			<3 RK_PD2 RK_FUNC_GPIO &pcfg_pull_up>, 
			<3 RK_PD3 RK_FUNC_GPIO &pcfg_pull_up>, 
			<2 RK_PB5 RK_FUNC_GPIO &pcfg_pull_up>, 
			<2 RK_PB6 RK_FUNC_GPIO &pcfg_pull_up>, 
			<3 RK_PB2 RK_FUNC_GPIO &pcfg_pull_up>;
		};
	};
	headphone {
        hp_det: hp-det {
            rockchip,pins = <2 RK_PC6 RK_FUNC_GPIO &pcfg_pull_up>;
        };
    };
};

/* DON'T PUT ANYTHING BELOW HERE.  PUT IT ABOVE PINCTRL */

